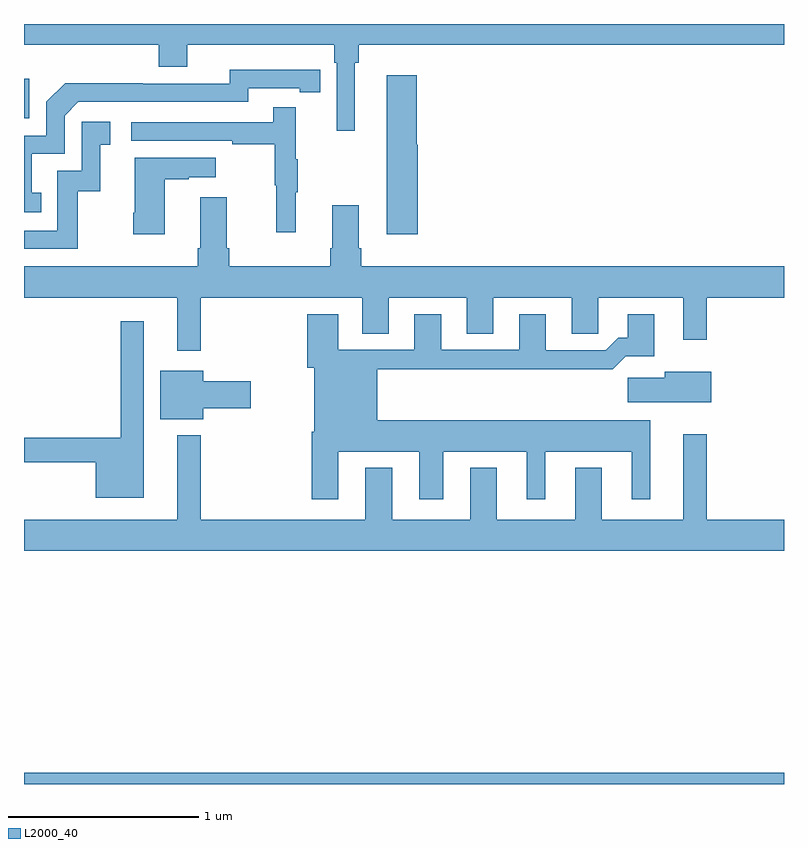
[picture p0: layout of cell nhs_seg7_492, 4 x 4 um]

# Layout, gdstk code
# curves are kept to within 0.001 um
import gdstk
lib = gdstk.Library(unit=1e-6, precision=1e-09)
def R(c, l, rs):  # rectangles x0, y0, x1, y1
    for r in rs: c.add(gdstk.rectangle(r[:2], r[2:], *l))
def P(c, l, *ps):  # polygons
    for p in ps: c.add(gdstk.Polygon(p, *l))
L2000_40 = (2000, 40)

nhs_seg7_492 = lib.new_cell('nhs_seg7_492')
R(nhs_seg7_492, L2000_40, [(149,1054,153,1054.06), (149,1057.503,149.028,1057.711)])
P(nhs_seg7_492, L2000_40, [(150.742,1057.796),(150.761,1057.796),(150.761,1057.892),(153,1057.892),(153,1058),(149,1058),(149,1057.892),(149.708,1057.892),(149.708,1057.775),(149.86,1057.775),(149.86,1057.892),(150.632,1057.892),(150.632,1057.796),(150.645,1057.796),(150.645,1057.437),(150.742,1057.437)],
  [(149.09,1057.113),(149.041,1057.113),(149.041,1057.317),(149.214,1057.317),(149.214,1057.518),(149.286,1057.59),(150.18,1057.59),(150.18,1057.662),(150.452,1057.662),(150.452,1057.642),(150.56,1057.642),(150.56,1057.758),(150.084,1057.759),(150.084,1057.686),(149.624,1057.686),(149.624,1057.688),(149.216,1057.688),(149.118,1057.59),(149.118,1057.413),(149,1057.413),(149,1057.008),(149.09,1057.008)],
  [(151.072,1057.365),(151.067,1057.365),(151.067,1057.729),(150.908,1057.729),(150.908,1056.894),(151.072,1056.894)],
  [(150.431,1057.115),(150.442,1057.115),(150.442,1057.289),(150.431,1057.289),(150.431,1057.561),(150.313,1057.561),(150.313,1057.482),(149.565,1057.482),(149.565,1057.386),(150.097,1057.386),(150.097,1057.366),(150.321,1057.366),(150.321,1057.152),(150.328,1057.152),(150.328,1056.903),(150.431,1056.903)],
  [(149.284,1057.119),(149.402,1057.119),(149.402,1057.365),(149.455,1057.365),(149.455,1057.486),(149.304,1057.486),(149.304,1057.227),(149.175,1057.227),(149.175,1056.912),(149,1056.912),(149,1056.816),(149.284,1056.816)],
  [(149.74,1057.183),(149.867,1057.183),(149.867,1057.193),(150.01,1057.193),(150.01,1057.297),(149.582,1057.297),(149.582,1057.006),(149.575,1057.006),(149.575,1056.894),(149.74,1056.894)],
  [(149.929,1056.56),(150.779,1056.56),(150.779,1056.37),(150.919,1056.37),(150.919,1056.56),(151.331,1056.56),(151.331,1056.37),(151.471,1056.37),(151.471,1056.56),(151.883,1056.56),(151.883,1056.37),(152.022,1056.37),(152.022,1056.56),(152.471,1056.56),(152.471,1056.339),(152.593,1056.339),(152.593,1056.56),(153,1056.56),(153,1056.724),(150.776,1056.724),(150.776,1056.82),(150.763,1056.82),(150.763,1057.045),(150.623,1057.045),(150.623,1056.82),(150.611,1056.82),(150.611,1056.724),(150.08,1056.724),(150.08,1056.82),(150.067,1056.82),(150.067,1057.087),(149.927,1057.087),(149.927,1056.82),(149.915,1056.82),(149.915,1056.724),(149,1056.724),(149,1056.56),(149.807,1056.56),(149.807,1056.279),(149.929,1056.279)],
  [(150.655,1055.75),(151.079,1055.75),(151.079,1055.499),(151.207,1055.499),(151.207,1055.75),(151.646,1055.75),(151.646,1055.499),(151.744,1055.499),(151.744,1055.75),(152.198,1055.75),(152.198,1055.499),(152.296,1055.499),(152.296,1055.914),(150.859,1055.914),(150.859,1056.184),(151.843,1056.184),(151.843,1056.182),(152.099,1056.182),(152.168,1056.251),(152.317,1056.251),(152.317,1056.472),(152.177,1056.472),(152.177,1056.349),(152.128,1056.349),(152.061,1056.282),(151.747,1056.282),(151.747,1056.472),(151.607,1056.472),(151.607,1056.285),(151.195,1056.285),(151.195,1056.472),(151.055,1056.472),(151.055,1056.285),(150.655,1056.285),(150.655,1056.472),(150.491,1056.472),(150.491,1056.192),(150.527,1056.192),(150.527,1055.854),(150.515,1055.854),(150.515,1055.499),(150.655,1055.499)],
  [(149.629,1056.436),(149.508,1056.436),(149.508,1055.822),(149,1055.822),(149,1055.694),(149.378,1055.694),(149.378,1055.507),(149.629,1055.507)],
  [(149.944,1055.978),(150.193,1055.978),(150.193,1056.12),(149.944,1056.12),(149.944,1056.175),(149.717,1056.175),(149.717,1055.921),(149.944,1055.921)],
  [(152.617,1056.169),(152.372,1056.169),(152.372,1056.137),(152.178,1056.137),(152.178,1056.008),(152.617,1056.008)],
  [(153,1055.392),(152.593,1055.392),(152.593,1055.842),(152.471,1055.842),(152.471,1055.392),(152.041,1055.392),(152.041,1055.665),(151.901,1055.665),(151.901,1055.392),(151.489,1055.392),(151.489,1055.665),(151.349,1055.665),(151.349,1055.392),(150.937,1055.392),(150.937,1055.665),(150.797,1055.665),(150.797,1055.392),(149.929,1055.392),(149.929,1055.836),(149.807,1055.836),(149.807,1055.392),(149,1055.392),(149,1055.228),(153,1055.228)])

lib.write_gds('nhs_seg7_492.gds')
